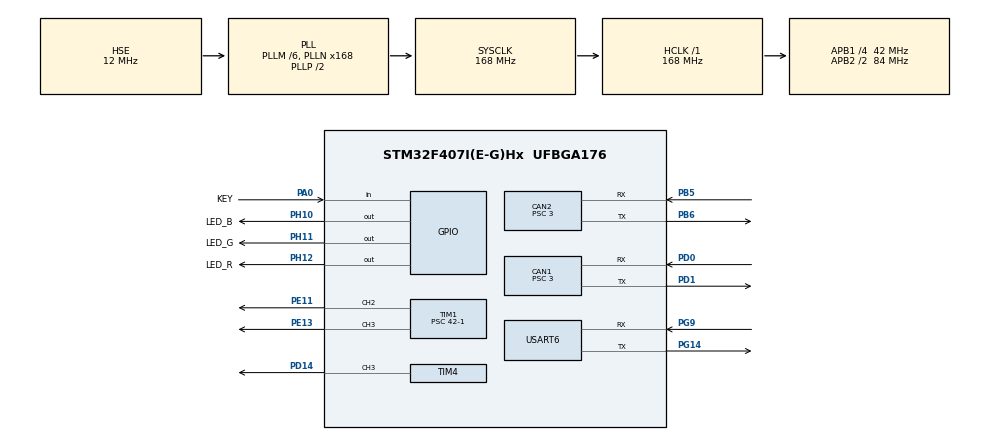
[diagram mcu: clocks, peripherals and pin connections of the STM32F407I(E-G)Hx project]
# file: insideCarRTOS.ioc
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CAN1.BS1=CAN_BS1_10TQ
CAN1.BS2=CAN_BS2_3TQ
CAN1.CalculateBaudRate=1000000
CAN1.CalculateTimeBit=1000
CAN1.CalculateTimeQuantum=71.42857142857143
CAN1.Prescaler=3
CAN2.BS1=CAN_BS1_10TQ
CAN2.BS2=CAN_BS2_3TQ
CAN2.CalculateBaudRate=1000000
CAN2.CalculateTimeBit=1000
CAN2.CalculateTimeQuantum=71.42857142857143
CAN2.Prescaler=3
Dma.Request0=USART6_TX
Dma.USART6_TX.0.Direction=DMA_MEMORY_TO_PERIPH
Dma.USART6_TX.0.FIFOMode=DMA_FIFOMODE_DISABLE
Dma.USART6_TX.0.Instance=DMA2_Stream6
Dma.USART6_TX.0.MemDataAlignment=DMA_MDATAALIGN_BYTE
Dma.USART6_TX.0.MemInc=DMA_MINC_ENABLE
Dma.USART6_TX.0.Mode=DMA_NORMAL
Dma.USART6_TX.0.PeriphDataAlignment=DMA_PDATAALIGN_BYTE
Dma.USART6_TX.0.PeriphInc=DMA_PINC_DISABLE
Dma.USART6_TX.0.Priority=DMA_PRIORITY_LOW
FREERTOS.Tasks01=defaultTask,0,128,StartDefaultTask,Default,NULL,Dynamic,NULL,NULL;chasis_task,0,128,Chasis_task,As weak,NULL,Dynamic,NULL,NULL;probeWave_task,-1,128,ProbeWave_task,As weak,NULL,Dynamic,NULL,NULL;move_task,-3,128,Move_task,As weak,NULL,Dynamic,NULL,NULL
Mcu.Family=STM32F4
Mcu.Name=STM32F407I(E-G)Hx
Mcu.Package=UFBGA176
NVIC.CAN1_RX0_IRQn=true\:5\:0\:false\:false\:true\:true\:true\:true\:true
NVIC.CAN1_RX1_IRQn=true\:5\:0\:false\:false\:true\:true\:true\:true\:true
NVIC.CAN2_RX0_IRQn=true\:5\:0\:false\:false\:true\:true\:true\:true\:true
NVIC.CAN2_RX1_IRQn=true\:5\:0\:false\:false\:true\:true\:true\:true\:true
NVIC.DMA2_Stream6_IRQn=true\:5\:0\:false\:false\:true\:true\:false\:true\:true
NVIC.PriorityGroup=NVIC_PRIORITYGROUP_4
NVIC.TIM6_DAC_IRQn=true\:15\:0\:false\:false\:true\:false\:false\:true\:true
NVIC.TimeBase=TIM6_DAC_IRQn
NVIC.TimeBaseIP=TIM6
NVIC.USART6_IRQn=true\:5\:0\:false\:false\:true\:true\:true\:true\:true
PA0-WKUP.GPIO_Label=KEY
PA0-WKUP.GPIO_PuPd=GPIO_PULLUP
PA0-WKUP.Signal=GPIO_Input
PA13.Mode=Serial_Wire
PA13.Signal=SYS_JTMS-SWDIO
PA14.Mode=Serial_Wire
PA14.Signal=SYS_JTCK-SWCLK
PB5.Mode=CAN_Activate
PB5.Signal=CAN2_RX
PB6.Mode=CAN_Activate
PB6.Signal=CAN2_TX
PD0.Mode=CAN_Activate
PD0.Signal=CAN1_RX
PD1.Mode=CAN_Activate
PD1.Signal=CAN1_TX
PD14.Signal=S_TIM4_CH3
PE11.Signal=S_TIM1_CH2
PE13.Signal=S_TIM1_CH3
PG14.Mode=Asynchronous
PG14.Signal=USART6_TX
PG9.Mode=Asynchronous
PG9.Signal=USART6_RX
PH0-OSC_IN.Mode=HSE-External-Oscillator
PH0-OSC_IN.Signal=RCC_OSC_IN
PH1-OSC_OUT.Mode=HSE-External-Oscillator
PH1-OSC_OUT.Signal=RCC_OSC_OUT
PH10.GPIO_Label=LED_B
PH10.Signal=GPIO_Output
PH11.GPIO_Label=LED_G
PH11.Signal=GPIO_Output
PH12.GPIO_Label=LED_R
PH12.Signal=GPIO_Output
ProjectManager.HeapSize=0x800
ProjectManager.StackSize=0x1600
ProjectManager.TargetToolchain=MDK-ARM V5.32
RCC.48MHZClocksFreq_Value=84000000
RCC.AHBFreq_Value=168000000
RCC.APB1CLKDivider=RCC_HCLK_DIV4
RCC.APB1Freq_Value=42000000
RCC.APB1TimFreq_Value=84000000
RCC.APB2CLKDivider=RCC_HCLK_DIV2
RCC.APB2Freq_Value=84000000
RCC.APB2TimFreq_Value=168000000
RCC.CortexFreq_Value=168000000
RCC.HCLKFreq_Value=168000000
RCC.HSE_VALUE=12000000
RCC.HSI_VALUE=16000000
RCC.LSE_VALUE=32768
RCC.PLLM=6
RCC.PLLN=168
RCC.PLLSourceVirtual=RCC_PLLSOURCE_HSE
RCC.SYSCLKFreq_VALUE=168000000
RCC.SYSCLKSource=RCC_SYSCLKSOURCE_PLLCLK
RCC.VCOOutputFreq_Value=336000000
SH.S_TIM1_CH2.0=TIM1_CH2,PWM Generation2 CH2
SH.S_TIM1_CH3.0=TIM1_CH3,PWM Generation3 CH3
SH.S_TIM4_CH3.0=TIM4_CH3,PWM Generation3 CH3
TIM1.AutoReloadPreload=TIM_AUTORELOAD_PRELOAD_ENABLE
TIM1.Channel-PWM\ Generation2\ CH2=TIM_CHANNEL_2
TIM1.Channel-PWM\ Generation3\ CH3=TIM_CHANNEL_3
TIM1.Period=4000
TIM1.Prescaler=42-1
TIM4.Channel-PWM\ Generation3\ CH3=TIM_CHANNEL_3
TIM4.Period=20999
USART6.VirtualMode=VM_ASYNC
VP_FREERTOS_VS_CMSIS_V1.Mode=CMSIS_V1
VP_SYS_VS_tim6.Mode=TIM6
board=custom

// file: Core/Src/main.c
/* USER CODE BEGIN Header */
/**
  ******************************************************************************
  * @file           : main.c
  * @brief          : Main program body
  ******************************************************************************
  * @attention
  *
  * Copyright (c) 2023 STMicroelectronics.
  * All rights reserved.
  *
  * This software is licensed under terms that can be found in the LICENSE file
  * in the root directory of this software component.
  * If no LICENSE file comes with this software, it is provided AS-IS.
  *
  ******************************************************************************
  */
/* USER CODE END Header */
#include "main.h"
#include "cmsis_os.h"
#include "can.h"
#include "dma.h"
#include "tim.h"
#include "usart.h"
#include "gpio.h"

/* USER CODE BEGIN Includes */
#include "bsp_led.h"
#include "bsp_buzzer.h"
#include "chasis_task.h"
#include "uart_com.h"
/* USER CODE END Includes */

void SystemClock_Config(void);
void MX_FREERTOS_Init(void);

int main(void)
{

  /* MCU Configuration--------------------------------------------------------*/

  /* Reset of all peripherals, Initializes the Flash interface and the Systick. */
  HAL_Init();

  /* Configure the system clock */
  SystemClock_Config();

  /* Initialize all configured peripherals */
  MX_GPIO_Init();
  MX_DMA_Init();
  MX_CAN1_Init();
  MX_TIM4_Init();
  MX_TIM1_Init();
  MX_USART6_UART_Init();
  MX_CAN2_Init();
  /* USER CODE BEGIN 2 */
	//开启蜂鸣器 定时器
	HAL_TIM_Base_Start(&htim4);
	//开启蜂鸣器 PWM通道
	HAL_TIM_PWM_Start(&htim4, TIM_CHANNEL_3);
	//开启探头电机PWM
	HAL_TIM_PWM_Start(&htim1, TIM_CHANNEL_2);
	HAL_TIM_PWM_Start(&htim1, TIM_CHANNEL_3);
	usart_start_it();

	//蜂鸣器测试
	for(int i=0;i<4;i++)
	{
		buzzer_on(0, 10000);HAL_Delay(100);
		buzzer_off();HAL_Delay(100);
	}
	while(keyState() == 0){};

  /* USER CODE END 2 */

  /* Call init function for freertos objects (in freertos.c) */
  MX_FREERTOS_Init();

  /* Start scheduler */
  osKernelStart();
  /* We should never get here as control is now taken by the scheduler */
  /* Infinite loop */
  while (1)
  {

  }
}

void SystemClock_Config(void)
{
  RCC_OscInitTypeDef RCC_OscInitStruct = {0};
  RCC_ClkInitTypeDef RCC_ClkInitStruct = {0};

  /** Configure the main internal regulator output voltage
  */
  __HAL_RCC_PWR_CLK_ENABLE();
  __HAL_PWR_VOLTAGESCALING_CONFIG(PWR_REGULATOR_VOLTAGE_SCALE1);

  /** Initializes the RCC Oscillators according to the specified parameters
  * in the RCC_OscInitTypeDef structure.
  */
  RCC_OscInitStruct.OscillatorType = RCC_OSCILLATORTYPE_HSE;
  RCC_OscInitStruct.HSEState = RCC_HSE_ON;
  RCC_OscInitStruct.PLL.PLLState = RCC_PLL_ON;
  RCC_OscInitStruct.PLL.PLLSource = RCC_PLLSOURCE_HSE;
  RCC_OscInitStruct.PLL.PLLM = 6;
  RCC_OscInitStruct.PLL.PLLN = 168;
  RCC_OscInitStruct.PLL.PLLP = RCC_PLLP_DIV2;
  RCC_OscInitStruct.PLL.PLLQ = 4;
  if (HAL_RCC_OscConfig(&RCC_OscInitStruct) != HAL_OK)
  {
    Error_Handler();
  }

  /** Initializes the CPU, AHB and APB buses clocks
  */
  RCC_ClkInitStruct.ClockType = RCC_CLOCKTYPE_HCLK|RCC_CLOCKTYPE_SYSCLK
                              |RCC_CLOCKTYPE_PCLK1|RCC_CLOCKTYPE_PCLK2;
  RCC_ClkInitStruct.SYSCLKSource = RCC_SYSCLKSOURCE_PLLCLK;
  RCC_ClkInitStruct.AHBCLKDivider = RCC_SYSCLK_DIV1;
  RCC_ClkInitStruct.APB1CLKDivider = RCC_HCLK_DIV4;
  RCC_ClkInitStruct.APB2CLKDivider = RCC_HCLK_DIV2;

  if (HAL_RCC_ClockConfig(&RCC_ClkInitStruct, FLASH_LATENCY_5) != HAL_OK)
  {
    Error_Handler();
  }
}

void HAL_TIM_PeriodElapsedCallback(TIM_HandleTypeDef *htim)
{
  if (htim->Instance == TIM6) {
    HAL_IncTick();
  }
}

void Error_Handler(void)
{
  __disable_irq();
  while (1)
  {
  }
}

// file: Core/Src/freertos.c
/* USER CODE BEGIN Header */
/**
  ******************************************************************************
  * File Name          : freertos.c
  * Description        : Code for freertos applications
  ******************************************************************************
  * @attention
  *
  * Copyright (c) 2023 STMicroelectronics.
  * All rights reserved.
  *
  * This software is licensed under terms that can be found in the LICENSE file
  * in the root directory of this software component.
  * If no LICENSE file comes with this software, it is provided AS-IS.
  *
  ******************************************************************************
  */
/* USER CODE END Header */

#include "FreeRTOS.h"
#include "task.h"
#include "main.h"
#include "cmsis_os.h"

/* USER CODE BEGIN Includes */
#include "bsp_led.h"
/* USER CODE END Includes */

osThreadId defaultTaskHandle;
osThreadId chasis_taskHandle;
osThreadId probeWave_taskHandle;
osThreadId move_taskHandle;

void StartDefaultTask(void const * argument);
void Chasis_task(void const * argument);
void ProbeWave_task(void const * argument);
void Move_task(void const * argument);

void MX_FREERTOS_Init(void); /* (MISRA C 2004 rule 8.1) */

/* GetIdleTaskMemory prototype (linked to static allocation support) */
void vApplicationGetIdleTaskMemory( StaticTask_t **ppxIdleTaskTCBBuffer, StackType_t **ppxIdleTaskStackBuffer, uint32_t *pulIdleTaskStackSize );

/* USER CODE BEGIN GET_IDLE_TASK_MEMORY */
static StaticTask_t xIdleTaskTCBBuffer;
static StackType_t xIdleStack[configMINIMAL_STACK_SIZE];

void vApplicationGetIdleTaskMemory( StaticTask_t **ppxIdleTaskTCBBuffer, StackType_t **ppxIdleTaskStackBuffer, uint32_t *pulIdleTaskStackSize )
{
  *ppxIdleTaskTCBBuffer = &xIdleTaskTCBBuffer;
  *ppxIdleTaskStackBuffer = &xIdleStack[0];
  *pulIdleTaskStackSize = configMINIMAL_STACK_SIZE;
  /* place for user code */
}
/* USER CODE END GET_IDLE_TASK_MEMORY */

void MX_FREERTOS_Init(void) {

  /* Create the thread(s) */
  /* definition and creation of defaultTask */
  osThreadDef(defaultTask, StartDefaultTask, osPriorityNormal, 0, 128);
  defaultTaskHandle = osThreadCreate(osThread(defaultTask), NULL);

  /* definition and creation of chasis_task */
  osThreadDef(chasis_task, Chasis_task, osPriorityNormal, 0, 128);
  chasis_taskHandle = osThreadCreate(osThread(chasis_task), NULL);

  /* definition and creation of probeWave_task */
  osThreadDef(probeWave_task, ProbeWave_task, osPriorityBelowNormal, 0, 128);
  probeWave_taskHandle = osThreadCreate(osThread(probeWave_task), NULL);

  /* definition and creation of move_task */
  osThreadDef(move_task, Move_task, osPriorityIdle, 0, 128);
  move_taskHandle = osThreadCreate(osThread(move_task), NULL);

}

void StartDefaultTask(void const * argument)
{
  /* USER CODE BEGIN StartDefaultTask */
  /* Infinite loop */

  for(;;)
  {
    osDelay(10);
		led_flash(100);
  }
  /* USER CODE END StartDefaultTask */
}

__weak void Chasis_task(void const * argument)
{
  for(;;)
  {
    osDelay(1);
  }
}

__weak void ProbeWave_task(void const * argument)
{
  for(;;)
  {
    osDelay(1);
  }
}

__weak void Move_task(void const * argument)
{
  for(;;)
  {
    osDelay(1);
  }
}
